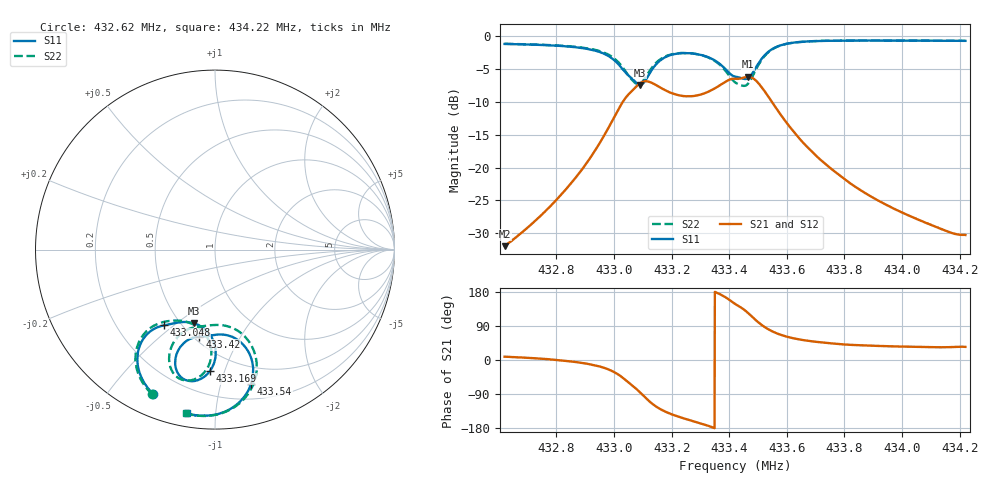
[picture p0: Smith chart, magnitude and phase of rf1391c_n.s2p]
!rf1391c,  9338,  untuned demo, narrow,bn,7/10/07
# HZ S RI R 50
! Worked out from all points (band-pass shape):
!   1601 points, 432.62 MHz to 434.22 MHz, reference 50 ohm
!   highest |S21| = -6.15 dB at 433.466 MHz (marker M1); lowest = -32.0 dB at 432.62 MHz (marker M2)
!   |S21| within 3 dB of the highest: 433.0438 MHz to 433.5354 MHz (491.6 kHz wide, 0.113 % of centre)
!   lowest |S11| = -7.4 dB at 433.091 MHz (marker M3), VSWR 2.49, Z = 28.8 - j28.9 ohm
!   |S11| at or under -10 dB: nowhere
!   |S22| runs from -7.5 to -0.6 dB; largest |S21 - S12| = 0.0064
!   S11 on the Smith chart (normalised r, x): 432.62 MHz: 0.09, -0.66; 433.048 MHz: 0.41, -0.46; 433.169 MHz: 0.36, -0.89; 433.42 MHz: 0.53, -0.69; 433.54 MHz: 0.33, -1.25; 434.22 MHz: 0.07, -0.84
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4.3262e8  -0.3431 -0.8058  0.025 0.0038  0.0255 0.00362  -0.3511 -0.8046
4.32758e8  -0.3726 -0.7734  0.0458 0.00233  0.0465 0.00182  -0.38 -0.7739
4.32887e8  -0.4139 -0.703  0.0949 -0.0125  0.0961 -0.0139  -0.4206 -0.7076
4.32982e8  -0.4272 -0.5624  0.1842 -0.0872  0.1855 -0.0905  -0.4406 -0.5738
4.33017e8  -0.3806 -0.4734  0.2182 -0.1793  0.2184 -0.184  -0.4049 -0.4821
4.33048e8  -0.2836 -0.422  0.1892 -0.3032  0.1882 -0.3077  -0.3063 -0.4087
4.33091e8  -0.1189 -0.41  0.0312 -0.4396  0.0288 -0.4453  -0.1118 -0.4216
4.33121e8  -0.00821 -0.5113  -0.1397 -0.4294  -0.1442 -0.4339  -0.0252 -0.5342
4.33154e8  -0.0076 -0.6386  -0.248 -0.3337  -0.2534 -0.3367  -0.0379 -0.6519
4.33169e8  -0.0282 -0.6762  -0.2714 -0.2914  -0.277 -0.2937  -0.0607 -0.6852
4.33243e8  -0.1426 -0.7322  -0.3159 -0.1525  -0.3214 -0.1519  -0.1755 -0.7271
4.33337e8  -0.2215 -0.6418  -0.3869 -0.025  -0.3911 -0.0216  -0.2552 -0.6247
4.33382e8  -0.194 -0.5434  -0.4345 0.0936  -0.437 0.098  -0.2293 -0.5149
4.3342e8  -0.0865 -0.486  -0.4039 0.2511  -0.4052 0.2546  -0.1119 -0.4326
4.33466e8  0.064 -0.4763  -0.2728 0.4102  -0.2746 0.4131  0.0803 -0.4301
4.33501e8  0.1956 -0.589  -0.0719 0.4352  -0.0735 0.4397  0.2171 -0.5646
4.3354e8  0.2008 -0.7497  0.0628 0.331  0.0633 0.3362  0.2178 -0.7393
4.33597e8  0.114 -0.8687  0.104 0.1974  0.1059 0.2006  0.1237 -0.8665
4.33687e8  0.00674 -0.9184  0.0863 0.1003  0.0882 0.1018  0.00888 -0.9193
4.33826e8  -0.0747 -0.9253  0.0571 0.0477  0.0584 0.0483  -0.0784 -0.9268
4.33954e8  -0.1153 -0.9216  0.0411 0.0301  0.042 0.0305  -0.1203 -0.9221
4.3422e8  -0.1577 -0.911  0.0253 0.0174  0.0259 0.0177  -0.1631 -0.9104
